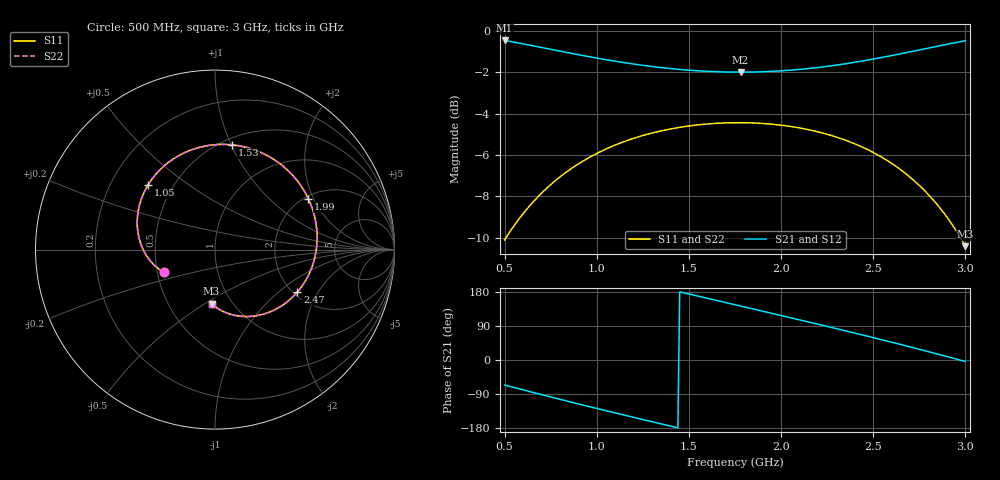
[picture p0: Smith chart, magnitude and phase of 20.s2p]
!freq-unit  param-type  data-format  keyword  impedance-ohms
# GHZ  S  RI  R  50
!Freq  ReS11  ImS11  ReS21  ImS21  ReS12  ImS12  ReS22  ImS22
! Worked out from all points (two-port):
!   251 points, 500 MHz to 3 GHz, reference 50 ohm
!   highest |S21| = -0.47 dB at 500 MHz (marker M1); lowest = -2.0 dB at 1.78 GHz (marker M2)
!   |S21| within 3 dB of the highest: start of sweep to end of sweep
!   lowest |S11| = -10.4 dB at 3 GHz (marker M3), VSWR 1.87, Z = 40.2 - j26.7 ohm
!   |S11| at or under -10 dB: start of sweep to 507.3 MHz; 2.974 GHz to end of sweep
!   |S22| runs from -10.4 to -4.4 dB; largest |S21 - S12| = 0
!   S11 on the Smith chart (normalised r, x): 500 MHz: 0.54, -0.15; 1.05 GHz: 0.36, +0.36; 1.53 GHz: 0.56, +1.01; 1.99 GHz: 2.09, +1.82; 2.47 GHz: 2.11, -1.36; 3 GHz: 0.80, -0.53
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0.5  -0.2859 -0.126  0.3836 -0.8665  0.3836 -0.8665  -0.2859 -0.126
0.6  -0.3548 -0.0693  0.1797 -0.9122  0.1797 -0.9122  -0.3548 -0.0693
0.7  -0.4051 0.0104  -0.0222 -0.9111  -0.0222 -0.9111  -0.4051 0.0104
0.81  -0.4319 0.116  -0.23 -0.8611  -0.23 -0.8611  -0.4319 0.116
0.92  -0.4251 0.2294  -0.4134 -0.768  -0.4134 -0.768  -0.4251 0.2294
1.05  -0.3737 0.359  -0.5893 -0.6146  -0.5893 -0.6146  -0.3737 0.359
1.2  -0.2631 0.483  -0.7295 -0.3981  -0.7295 -0.3981  -0.2631 0.483
1.34  -0.1229 0.5587  -0.7966 -0.1758  -0.7966 -0.1758  -0.1229 0.5587
1.43  -0.0214 0.5823  -0.8075 -0.0301  -0.8075 -0.0301  -0.0214 0.5823
1.53  0.0954 0.5837  -0.791 0.129  -0.791 0.129  0.0954 0.5837
1.64  0.2215 0.5549  -0.74 0.2952  -0.74 0.2952  0.2215 0.5549
1.75  0.3372 0.4961  -0.6573 0.4467  -0.6573 0.4467  0.3372 0.4961
1.78  0.366 0.4753  -0.6296 0.4848  -0.6296 0.4848  0.366 0.4753
1.99  0.5201 0.2834  -0.3824 0.7025  -0.3824 0.7025  0.5201 0.2834
2.17  0.5688 0.0797  -0.1121 0.8047  -0.1121 0.8047  0.5688 0.0797
2.32  0.5427 -0.0903  0.1371 0.8172  0.1371 0.8172  0.5427 -0.0903
2.47  0.4593 -0.236  0.3898 0.755  0.3898 0.755  0.4593 -0.236
2.59  0.3596 -0.3204  0.5799 0.6479  0.5799 0.6479  0.3596 -0.3204
2.7  0.2525 -0.364  0.7324 0.5048  0.7324 0.5048  0.2525 -0.364
2.81  0.1419 -0.3713  0.8516 0.3217  0.8516 0.3217  0.1419 -0.3713
2.91  0.0492 -0.3464  0.9208 0.1263  0.9208 0.1263  0.0492 -0.3464
3  -0.0192 -0.3014  0.9435 -0.0661  0.9435 -0.0661  -0.0192 -0.3014
